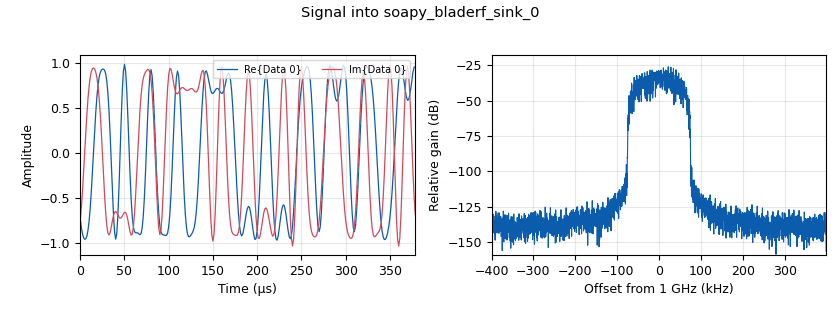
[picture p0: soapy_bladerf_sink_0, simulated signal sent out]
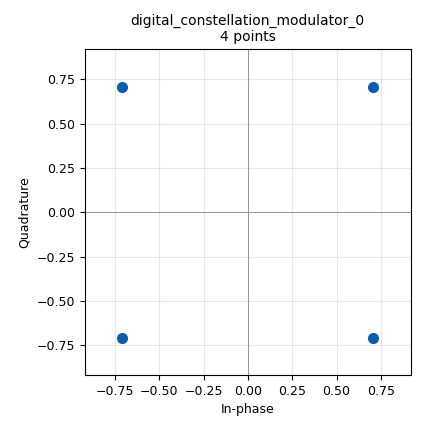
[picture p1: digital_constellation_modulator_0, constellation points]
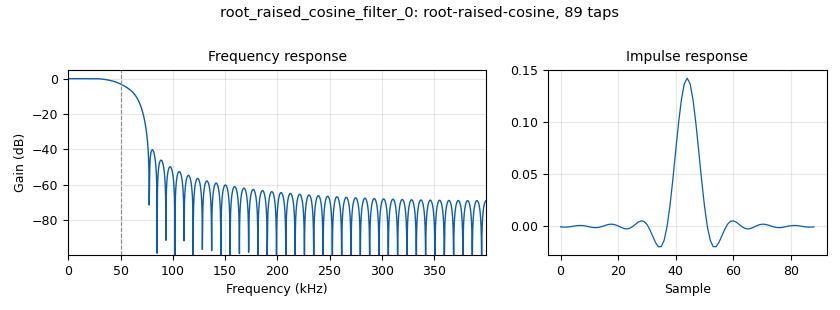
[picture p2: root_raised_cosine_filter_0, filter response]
options:
  parameters:
    author: tom
    generate_options: qt_gui
    id: backup
    output_language: python
    title: Not titled yet
  states: {}

blocks:
- name: QPSK_constellation
  id: variable_constellation
  parameters:
    const_points: '[-1-1j, -1+1j, 1+1j, 1-1j]'
    dims: '1'
    normalization: digital.constellation.AMPLITUDE_NORMALIZATION
    precision: '8'
    rot_sym: '4'
    sym_map: '[0, 1, 3, 2]'
    type: calcdist
  states: {}
- name: QPSK_constellation
  id: variable_constellation
  parameters:
    precision: '8'
    type: qpsk
  states: {state: disabled}
- name: alpha
  id: variable
  parameters:
    value: '0.5'
  states: {}
- name: center_freq
  id: variable
  parameters:
    value: 1000e6
  states: {}
- name: fc
  id: variable
  parameters:
    value: '200000'
  states: {}
- name: samp_rate
  id: variable
  parameters:
    comment: |-
      was 800k
      not the problem though. depends on the required symbol rate
    value: 800e3
  states: {}
- name: sps
  id: variable
  parameters:
    value: '8'
  states: {}
- name: analog_agc3_xx_0
  id: analog_agc3_xx
  parameters:
    attack_rate: '1e-3'
    comment: Up the attack and decay rates when we do real life testing
    decay_rate: '1e-4'
    gain: '1.0'
    iir_update_decim: '1'
    max_gain: '65536'
    reference: '1.0'
    type: complex
  states: {}
- name: analog_random_uniform_source_x_0
  id: analog_random_uniform_source_x
  parameters:
    comment: |-
      instead of this, have a set pilor signal?
      Also: Pluto -> bladeRF and bladeRF->Pluto
    maximum: '256'
    minimum: '0'
    seed: '0'
    type: byte
  states: {state: disabled}
- name: blocks_file_sink_0
  id: blocks_file_sink
  parameters:
    file: ber_src
    type: byte
  states: {state: disabled}
- name: blocks_file_sink_1
  id: blocks_file_sink
  parameters:
    comment: |-
      run 
      python3 V3_analyze_pilot_bitstream.py 
      to analyze results

      ==> i.e., we do the bit->byte conversion inside the python file. 
      The python file takes in a file containing the bit stream received, 
      and handles the alignment and the BER calculations. 

      ==> I am assuming that the GNU radio blocks works, but this block is weird. 
      Idk if that's fair tbh. (Is this a firmware issue, actually...?)
    file: pilot_rx_bits.txt
    type: byte
  states: {}
- name: blocks_skiphead_0
  id: blocks_skiphead
  parameters:
    comment: skips 1 second of data
    num_items: int(samp_rate)
    type: byte
  states: {}
- name: blocks_throttle2_0_0_0_0
  id: blocks_throttle2
  parameters:
    samples_per_second: samp_rate
    type: byte
  states: {}
- name: blocks_unpack_k_bits_bb_0
  id: blocks_unpack_k_bits_bb
  parameters:
    k: '2'
  states: {}
- name: blocks_unpack_k_bits_bb_2
  id: blocks_unpack_k_bits_bb
  parameters:
    k: '8'
  states: {state: disabled}
- name: digital_constellation_decoder_cb_0
  id: digital_constellation_decoder_cb
  parameters:
    constellation: QPSK_constellation
  states: {state: disabled}
- name: digital_constellation_modulator_0
  id: digital_constellation_modulator
  parameters:
    constellation: QPSK_constellation
    differential: 'True'
    excess_bw: alpha
    samples_per_symbol: sps
  states: {}
- name: digital_costas_loop_cc_0
  id: digital_costas_loop_cc
  parameters:
    order: '4'
    w: 2*math.pi/100
  states: {}
- name: digital_diff_decoder_bb_0
  id: digital_diff_decoder_bb
  parameters:
    coding: digital.DIFF_DIFFERENTIAL
    modulus: '4'
  states: {}
- name: digital_map_bb_0
  id: digital_map_bb
  parameters:
    map: '[0, 1, 3, 2]'
  states: {}
- name: digital_symbol_sync_xx_0
  id: digital_symbol_sync_xx
  parameters:
    constellation: digital.constellation_qpsk().base()
    damping: '1.0'
    loop_bw: '0.045'
    max_dev: '1.5'
    nfilters: '32'
    osps: '1'
    resamp_type: digital.IR_MMSE_8TAP
    sps: sps
    ted_gain: '1'
    ted_type: digital.TED_SIGNAL_TIMES_SLOPE_ML
    type: cc
  states: {}
- name: epy_block_1
  id: epy_block
  parameters:
    _source_code: |
      import numpy as np
      from gnuradio import gr


      class blk(gr.sync_block):
          """
          Repeating byte source:
            0, 1, 2, ..., 255, 0, 1, ...
          """

          def __init__(self):
              gr.sync_block.__init__(
                  self,
                  name="Repeating 0-255 Byte Source",
                  in_sig=None,
                  out_sig=[np.uint8],
              )

              self.index = 0

          def work(self, input_items, output_items):
              out = output_items[0]
              n = len(out)

              out[:] = (self.index + np.arange(n)) % 256
              self.index = (self.index + n) % 256

              return n
  states: {}
- name: epy_block_2
  id: epy_block
  parameters:
    _source_code: |
      import numpy as np
      from gnuradio import gr
      from collections import deque


      class blk(gr.sync_block):
          """
          Real-time BER calculator for repeated byte pilot:

              0, 1, 2, ..., 255, 0, 1, 2, ...

          BUT input is an unpacked bit stream:

              in0: uint8 stream, values 0 or 1
                   one bit per byte, i.e. GNU Radio "purple" byte stream

          Output:
              out0: float32 BER estimate

          This block does NOT need a TX input.
          It regenerates the expected 0..255 pilot internally, unpacks it into bits,
          finds the bit-level phase offset, then compares bit-by-bit.

          bitorder:
              "big"    = MSB first, matches np.unpackbits(..., bitorder="big")
              "little" = LSB first
              "auto"   = try both during sync and use the better one
          """

          def __init__(
              self,
              sync_buffer_size=4096,
              report_every=8000,
              window_size=80000,
              realign_interval=200000,
              periodic_realign=True,
              bitorder="auto",
          ):
              gr.sync_block.__init__(
                  self,
                  name="Pilot BER Calculator Bits 0-255",
                  in_sig=[np.uint8],
                  out_sig=[np.float32],
              )

              self.sync_buffer_size = int(sync_buffer_size)
              self.report_every = int(report_every)
              self.window_size = int(window_size)
              self.realign_interval = int(realign_interval)
              self.periodic_realign = bool(periodic_realign)
              self.bitorder = str(bitorder)

              if self.sync_buffer_size <= 0:
                  raise ValueError("sync_buffer_size must be positive")

              if self.bitorder not in ["big", "little", "auto"]:
                  raise ValueError('bitorder must be "big", "little", or "auto"')

              # Byte pilot: 0, 1, 2, ..., 255
              self.byte_pilot = np.arange(256, dtype=np.uint8)

              # Bit pilots. Each has length 256 * 8 = 2048 bits.
              self.bit_pilots = {
                  "big": np.unpackbits(self.byte_pilot, bitorder="big").astype(np.uint8),
                  "little": np.unpackbits(self.byte_pilot, bitorder="little").astype(np.uint8),
              }

              self.active_bitorder = None
              self.pilot_bits = None
              self.pilot_len_bits = None

              self.rx_buffer = np.array([], dtype=np.uint8)

              self.synced = False
              self.pilot_bit_index = 0
              self.last_ber = 0.0

              self.bits_since_report = 0
              self.bits_since_realign = 0

              self.window = deque()
              self.window_error_sum = 0
              self.window_bit_sum = 0

          def make_expected_bits(self, start_index, n):
              positions = (start_index + np.arange(n)) % self.pilot_len_bits
              return self.pilot_bits[positions]

          def find_pilot_offset_for_order(self, rx, order):
              """
              Try all bit offsets inside one full pilot period.

              Returns:
                  best_offset, best_errors
              """
              pilot = self.bit_pilots[order]
              period = len(pilot)

              best_offset = 0
              best_errors = None

              # Try all 2048 possible bit-level offsets
              for offset in range(period):
                  positions = (offset + np.arange(len(rx))) % period
                  expected = pilot[positions]

                  errors = int(np.sum(rx != expected))

                  if best_errors is None or errors < best_errors:
                      best_errors = errors
                      best_offset = offset

              return best_offset, best_errors

          def find_pilot_offset(self, rx):
              """
              Finds:
                1. bit order, if bitorder="auto"
                2. bit offset within the 2048-bit repeated pilot
              """
              rx = rx & 0x01

              if self.bitorder == "auto":
                  orders_to_try = ["big", "little"]
              else:
                  orders_to_try = [self.bitorder]

              best_order = None
              best_offset = None
              best_errors = None

              for order in orders_to_try:
                  offset, errors = self.find_pilot_offset_for_order(rx, order)

                  if best_errors is None or errors < best_errors:
                      best_errors = errors
                      best_offset = offset
                      best_order = order

              self.active_bitorder = best_order
              self.pilot_bits = self.bit_pilots[best_order]
              self.pilot_len_bits = len(self.pilot_bits)

              sync_ber = best_errors / len(rx)

              print(
                  f"[Pilot BER Bits] Sync search: "
                  f"bitorder={best_order}, "
                  f"best bit offset={best_offset}, "
                  f"sync BER={sync_ber:.6f}"
              )

              return best_offset

          def add_window_result(self, errors, bits):
              self.window.append((int(errors), int(bits)))
              self.window_error_sum += int(errors)
              self.window_bit_sum += int(bits)

              while self.window_bit_sum > self.window_size and len(self.window) > 1:
                  old_errors, old_bits = self.window.popleft()
                  self.window_error_sum -= old_errors
                  self.window_bit_sum -= old_bits

          def current_window_ber(self):
              if self.window_bit_sum == 0:
                  return 0.0
              return self.window_error_sum / self.window_bit_sum

          def process_rx_bits(self, rx_bits):
              n = len(rx_bits)
              if n == 0:
                  return

              rx_bits = rx_bits & 0x01
              expected = self.make_expected_bits(self.pilot_bit_index, n)

              errors = int(np.sum(rx_bits != expected))
              bits = n

              self.add_window_result(errors, bits)

              self.pilot_bit_index = (self.pilot_bit_index + n) % self.pilot_len_bits

              self.bits_since_report += bits
              self.bits_since_realign += bits

              if self.bits_since_report >= self.report_every:
                  self.last_ber = self.current_window_ber()
                  print(
                      f"[Pilot BER Bits] BER = {self.last_ber:.6f}, "
                      f"bitorder={self.active_bitorder}, "
                      f"pilot_bit_index={self.pilot_bit_index}, "
                      f"window={self.window_error_sum}/{self.window_bit_sum} bits"
                  )
                  self.bits_since_report = 0

          def reset_sync(self):
              self.synced = False
              self.rx_buffer = np.array([], dtype=np.uint8)
              self.bits_since_realign = 0
              print("[Pilot BER Bits] Re-aligning...")

          def work(self, input_items, output_items):
              rx_in = np.asarray(input_items[0], dtype=np.uint8)
              out = output_items[0]
              n = len(rx_in)

              # Sanity warning, sampled lightly
              if n > 0:
                  sample = rx_in[:min(n, 1024)]
                  unique = np.unique(sample)
                  if not np.all((unique == 0) | (unique == 1)):
                      print(
                          "[Pilot BER Bits WARNING] Input is not purely 0/1. "
                          f"Unique sample values: {unique[:20]}"
                      )

              if not self.synced:
                  self.rx_buffer = np.concatenate((self.rx_buffer, (rx_in & 0x01).copy()))

                  if len(self.rx_buffer) >= self.sync_buffer_size:
                      sync_rx = self.rx_buffer[:self.sync_buffer_size]

                      offset = self.find_pilot_offset(sync_rx)

                      self.synced = True
                      self.pilot_bit_index = offset

                      print(
                          f"[Pilot BER Bits] Initial lock: "
                          f"rx_buffer[0] aligned to pilot bit {offset} "
                          f"using bitorder={self.active_bitorder}"
                      )

                      # Process all buffered samples, including sync buffer
                      buffered = self.rx_buffer
                      self.rx_buffer = np.array([], dtype=np.uint8)
                      self.process_rx_bits(buffered)

              else:
                  self.process_rx_bits(rx_in)

                  if self.periodic_realign and self.bits_since_realign >= self.realign_interval:
                      self.reset_sync()

              out[:] = self.last_ber
              return n
    bitorder: '"auto"'
    periodic_realign: 'True'
    realign_interval: '200000'
    report_every: 8000*2
    sync_buffer_size: '4096'
    window_size: '80000'
  states: {state: disabled}
- name: import_0
  id: import
  parameters:
    imports: import math
  states: {}
- name: import_0_0
  id: import
  parameters:
    imports: import numpy
  states: {}
- name: low_pass_filter_0
  id: low_pass_filter
  parameters:
    comment: |-
      sps = 1 samp_rate = bandwidth
      samp_rate / sps ~= bandwidth

      Bandwith has to do with "squareness" of wave and samp_rate/sps

      shaping is controlled by alpha

      min(BW) = sps

      BW = symbol_rate*(1+alpha)
    cutoff_freq: samp_rate/sps/2*(1+alpha)*2.0
    decim: '1'
    gain: '1'
    samp_rate: samp_rate
    type: fir_filter_ccf
    width: samp_rate/sps/2*(1+alpha)*0.5
    win: window.WIN_HAMMING
  states: {state: bypassed}
- name: qtgui_const_sink_x_0
  id: qtgui_const_sink_x
  parameters:
    label1: Uncorrected
    label2: Costas Loop
    nconnections: '2'
    size: '1024'
    type: complex
    xmax: '3'
    xmin: '-3'
    ymax: '3'
    ymin: '-3'
  states: {}
- name: qtgui_sink_x_0
  id: qtgui_sink_x
  parameters:
    bw: samp_rate
    fc: '0'
    fftsize: '1024'
    name: '"transmitted signal"'
    type: complex
  states: {state: disabled}
- name: qtgui_time_sink_x_0
  id: qtgui_time_sink_x
  parameters:
    size: '1024'
    srate: samp_rate
    type: float
    ylabel: BER
    ymin: '-0.001'
  states: {state: disabled}
- name: root_raised_cosine_filter_0
  id: root_raised_cosine_filter
  parameters:
    alpha: alpha
    decim: '1'
    gain: '1'
    ntaps: 11*sps
    samp_rate: samp_rate
    sym_rate: samp_rate / sps
    type: fir_filter_ccf
  states: {}
- name: soapy_bladerf_sink_0
  id: soapy_bladerf_sink
  parameters:
    center_freq: center_freq
    gain: '40'
    samp_rate: samp_rate
    type: fc32
  states: {}
- name: soapy_bladerf_source_0
  id: soapy_bladerf_source
  parameters:
    center_freq: center_freq
    gain: '30'
    samp_rate: samp_rate
    type: fc32
  states: {}
- name: soapy_plutosdr_sink_0
  id: soapy_plutosdr_sink
  parameters:
    center_freq: center_freq
    gain: '68'
    samp_rate: samp_rate
    type: fc32
  states: {state: disabled}
- name: soapy_plutosdr_source_0_0
  id: soapy_plutosdr_source
  parameters:
    agc: 'True'
    center_freq: center_freq
    gain: '60'
    samp_rate: samp_rate
    type: fc32
  states: {state: disabled}
- name: virtual_sink_0
  id: virtual_sink
  parameters:
    stream_id: rx_signal_filtered
  states: {}
- name: virtual_sink_1
  id: virtual_sink
  parameters:
    stream_id: decoded_signal
  states: {state: disabled}
- name: virtual_sink_2
  id: virtual_sink
  parameters:
    stream_id: test
  states: {state: disabled}
- name: virtual_source_0
  id: virtual_source
  parameters:
    stream_id: rx_signal_filtered
  states: {}
- name: virtual_source_1
  id: virtual_source
  parameters:
    stream_id: decoded_signal
  states: {}
- name: virtual_source_3
  id: virtual_source
  parameters:
    stream_id: test
  states: {state: disabled}

connections:
- [analog_agc3_xx_0, '0', low_pass_filter_0, '0']
- [analog_random_uniform_source_x_0, '0', blocks_throttle2_0_0_0_0, '0']
- [blocks_skiphead_0, '0', blocks_file_sink_1, '0']
- [blocks_throttle2_0_0_0_0, '0', blocks_unpack_k_bits_bb_2, '0']
- [blocks_throttle2_0_0_0_0, '0', digital_constellation_modulator_0, '0']
- [blocks_unpack_k_bits_bb_0, '0', blocks_skiphead_0, '0']
- [blocks_unpack_k_bits_bb_0, '0', epy_block_2, '0']
- [blocks_unpack_k_bits_bb_2, '0', blocks_file_sink_0, '0']
- [digital_constellation_decoder_cb_0, '0', virtual_sink_1, '0']
- [digital_constellation_modulator_0, '0', qtgui_sink_x_0, '0']
- [digital_constellation_modulator_0, '0', soapy_bladerf_sink_0, '0']
- [digital_constellation_modulator_0, '0', soapy_plutosdr_sink_0, '0']
- [digital_constellation_modulator_0, '0', virtual_sink_2, '0']
- [digital_costas_loop_cc_0, '0', digital_constellation_decoder_cb_0, '0']
- [digital_costas_loop_cc_0, '0', qtgui_const_sink_x_0, '1']
- [digital_diff_decoder_bb_0, '0', digital_map_bb_0, '0']
- [digital_map_bb_0, '0', blocks_unpack_k_bits_bb_0, '0']
- [digital_symbol_sync_xx_0, '0', digital_costas_loop_cc_0, '0']
- [digital_symbol_sync_xx_0, '0', qtgui_const_sink_x_0, '0']
- [epy_block_1, '0', blocks_throttle2_0_0_0_0, '0']
- [epy_block_2, '0', qtgui_time_sink_x_0, '0']
- [low_pass_filter_0, '0', root_raised_cosine_filter_0, '0']
- [root_raised_cosine_filter_0, '0', virtual_sink_0, '0']
- [soapy_bladerf_source_0, '0', analog_agc3_xx_0, '0']
- [soapy_plutosdr_source_0_0, '0', analog_agc3_xx_0, '0']
- [virtual_source_0, '0', digital_symbol_sync_xx_0, '0']
- [virtual_source_1, '0', digital_diff_decoder_bb_0, '0']
- [virtual_source_3, '0', analog_agc3_xx_0, '0']

metadata:
  file_format: 1
  grc_version: 3.10.12.0
